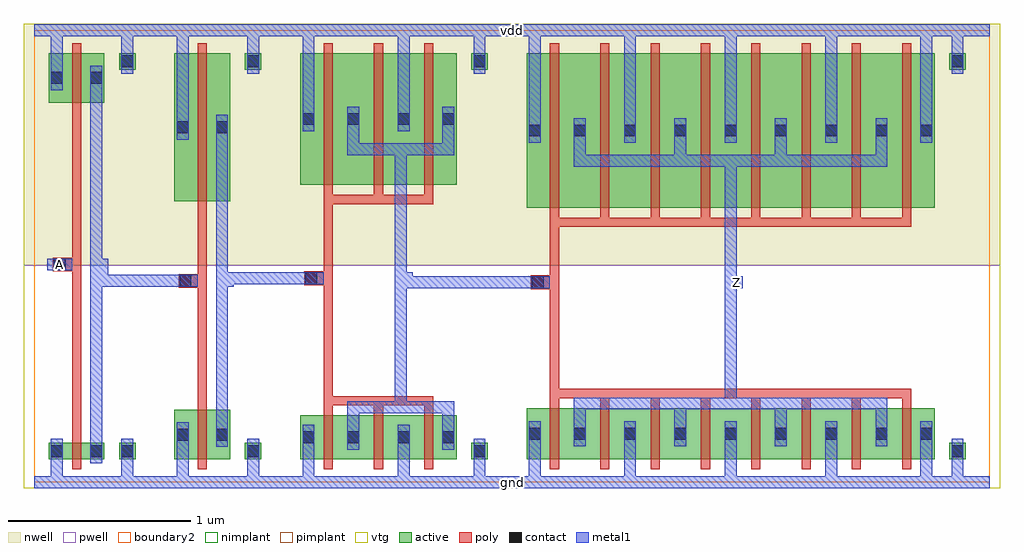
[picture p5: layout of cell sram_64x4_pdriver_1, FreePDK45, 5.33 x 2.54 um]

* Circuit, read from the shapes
.subckt sram_64x4_pdriver_1 A Z gnd vdd
M1 sram_64x4_pinv_7_1/A A gnd gnd nfet w=0.09u l=0.05u
M2 sram_64x4_pinv_8_2/A sram_64x4_pinv_7_1/A gnd gnd nfet w=0.27u l=0.05u
M3 sram_64x4_pinv_9_3/A sram_64x4_pinv_8_2/A gnd gnd nfet w=0.24u l=0.05u m=3
M4 Z sram_64x4_pinv_9_3/A gnd gnd nfet w=0.28u l=0.05u m=8
M5 sram_64x4_pinv_7_1/A A vdd vdd pfet w=0.27u l=0.05u
M6 sram_64x4_pinv_8_2/A sram_64x4_pinv_7_1/A vdd vdd pfet w=0.81u l=0.05u
M7 sram_64x4_pinv_9_3/A sram_64x4_pinv_8_2/A vdd vdd pfet w=0.72u l=0.05u m=3
M8 Z sram_64x4_pinv_9_3/A vdd vdd pfet w=0.845u l=0.05u m=8
.ends

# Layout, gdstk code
import gdstk
lib = gdstk.Library(unit=1e-6, precision=5e-10)
def R(c, l, rs):  # rectangles x0, y0, x1, y1
    for r in rs: c.add(gdstk.rectangle(r[:2], r[2:], *l))
def A(c, l, x, y, w, h, nx, ny, dx, dy):  # array of equal rectangles
    R(c, l, [(x+i*dx, y+j*dy, x+i*dx+w, y+j*dy+h) for i in range(nx) for j in range(ny)])
active = (1, 0)
pwell = (2, 0)
nwell = (3, 0)
nimplant = (4, 0)
pimplant = (5, 0)
vtg = (6, 0)
poly = (9, 0)
contact = (10, 0)
metal1 = (11, 0)
boundary2 = (239, 0)

sram_64x4_contact_11 = lib.new_cell('sram_64x4_contact_11')
R(sram_64x4_contact_11, active, [(0,0.0225,0.09,0.1125)])
R(sram_64x4_contact_11, nwell, [(-0.055,-0.0325,0.145,0.1675)])
R(sram_64x4_contact_11, pimplant, [(0,0.0225,0.09,0.1125)])
R(sram_64x4_contact_11, contact, [(0.0125,0.035,0.0775,0.1)])
R(sram_64x4_contact_11, metal1, [(0.0125,0,0.0775,0.135)])
R(sram_64x4_contact_11, boundary2, [(-0.055,-0.0325,0.145,0.1675)])

sram_64x4_pmos_m1_w0_270 = lib.new_cell('sram_64x4_pmos_m1_w0_270_sm1_dm1_da_p')
R(sram_64x4_pmos_m1_w0_270, active, [(0,0,0.305,0.27)])
R(sram_64x4_pmos_m1_w0_270, nwell, [(-0.08,-0.08,0.385,0.35)])
R(sram_64x4_pmos_m1_w0_270, pimplant, [(0,0,0.305,0.27)])
R(sram_64x4_pmos_m1_w0_270, vtg, [(-0.08,-0.08,0.385,0.35)])
R(sram_64x4_pmos_m1_w0_270, poly, [(0.1275,-0.055,0.1775,0.325), (0.1275,-0.055,0.1775,0.325)])
R(sram_64x4_pmos_m1_w0_270, metal1, [(0.0125,0.0675,0.0775,0.2025), (0.2275,0.0675,0.2925,0.2025)])
R(sram_64x4_pmos_m1_w0_270, boundary2, [(-0.08,-0.08,0.385,0.35)])
sram_64x4_pmos_m1_w0_270.add(gdstk.Reference(sram_64x4_contact_11, (0,0.0675)))
sram_64x4_pmos_m1_w0_270.add(gdstk.Reference(sram_64x4_contact_11, (0.215,0.0675)))
sram_64x4_pmos_m1_w0_270.add(gdstk.Label('G', (0.1525,0.135), layer=9, texttype=0))
sram_64x4_pmos_m1_w0_270.add(gdstk.Label('S', (0.045,0.135), layer=11, texttype=0))
sram_64x4_pmos_m1_w0_270.add(gdstk.Label('D', (0.26,0.135), layer=11, texttype=0))

sram_64x4_contact_10 = lib.new_cell('sram_64x4_contact_10')
R(sram_64x4_contact_10, active, [(0,0.0225,0.09,0.1125)])
R(sram_64x4_contact_10, pwell, [(-0.055,-0.0325,0.145,0.1675)])
R(sram_64x4_contact_10, nimplant, [(0,0.0225,0.09,0.1125)])
R(sram_64x4_contact_10, contact, [(0.0125,0.035,0.0775,0.1)])
R(sram_64x4_contact_10, metal1, [(0.0125,0,0.0775,0.135)])
R(sram_64x4_contact_10, boundary2, [(-0.055,-0.0325,0.145,0.1675)])

sram_64x4_nmos_m1_w0_090 = lib.new_cell('sram_64x4_nmos_m1_w0_090_sm1_dm1_da_p')
R(sram_64x4_nmos_m1_w0_090, active, [(0,0,0.305,0.09)])
R(sram_64x4_nmos_m1_w0_090, pwell, [(-0.08,-0.08,0.385,0.17)])
R(sram_64x4_nmos_m1_w0_090, nimplant, [(0,0,0.305,0.09)])
R(sram_64x4_nmos_m1_w0_090, vtg, [(-0.08,-0.08,0.385,0.17)])
R(sram_64x4_nmos_m1_w0_090, poly, [(0.1275,-0.055,0.1775,0.145), (0.1275,-0.055,0.1775,0.145)])
R(sram_64x4_nmos_m1_w0_090, metal1, [(0.0125,-0.0225,0.0775,0.1125), (0.2275,-0.0225,0.2925,0.1125)])
R(sram_64x4_nmos_m1_w0_090, boundary2, [(-0.08,-0.08,0.385,0.17)])
sram_64x4_nmos_m1_w0_090.add(gdstk.Reference(sram_64x4_contact_10, (0,-0.0225)))
sram_64x4_nmos_m1_w0_090.add(gdstk.Reference(sram_64x4_contact_10, (0.215,-0.0225)))
sram_64x4_nmos_m1_w0_090.add(gdstk.Label('G', (0.1525,0.045), layer=9, texttype=0))
sram_64x4_nmos_m1_w0_090.add(gdstk.Label('S', (0.045,0.045), layer=11, texttype=0))
sram_64x4_nmos_m1_w0_090.add(gdstk.Label('D', (0.26,0.045), layer=11, texttype=0))

sram_64x4_contact_12 = lib.new_cell('sram_64x4_contact_12')
R(sram_64x4_contact_12, active, [(0,0.0225,0.09,0.1125)])
R(sram_64x4_contact_12, nwell, [(-0.055,-0.0325,0.145,0.1675)])
R(sram_64x4_contact_12, nimplant, [(0,0.0225,0.09,0.1125)])
R(sram_64x4_contact_12, contact, [(0.0125,0.035,0.0775,0.1)])
R(sram_64x4_contact_12, metal1, [(0.0125,0,0.0775,0.135)])
R(sram_64x4_contact_12, boundary2, [(-0.055,-0.0325,0.145,0.1675)])

sram_64x4_contact_13 = lib.new_cell('sram_64x4_contact_13')
R(sram_64x4_contact_13, active, [(0,0.0225,0.09,0.1125)])
R(sram_64x4_contact_13, pwell, [(-0.055,-0.0325,0.145,0.1675)])
R(sram_64x4_contact_13, pimplant, [(0,0.0225,0.09,0.1125)])
R(sram_64x4_contact_13, contact, [(0.0125,0.035,0.0775,0.1)])
R(sram_64x4_contact_13, metal1, [(0.0125,0,0.0775,0.135)])
R(sram_64x4_contact_13, boundary2, [(-0.055,-0.0325,0.145,0.1675)])

sram_64x4_contact_14 = lib.new_cell('sram_64x4_contact_14')
R(sram_64x4_contact_14, poly, [(0.03,0,0.105,0.075)])
R(sram_64x4_contact_14, contact, [(0.035,0.005,0.1,0.07)])
R(sram_64x4_contact_14, metal1, [(0,0.005,0.135,0.07)])
R(sram_64x4_contact_14, boundary2, [(0,0,0.135,0.075)])

sram_64x4_pinv_1 = lib.new_cell('sram_64x4_pinv_1')
R(sram_64x4_pinv_1, pwell, [(-0.055,-0.0325,0.7425,1.185)])
R(sram_64x4_pinv_1, nwell, [(-0.055,1.185,0.7425,2.505)])
R(sram_64x4_pinv_1, vtg, [(-0.055,-0.0325,0.7425,1.185), (-0.055,1.185,0.7425,2.505)])
R(sram_64x4_pinv_1, poly, [(0.2075,0.27,0.2575,2.02), (0.14,1.1525,0.2075,1.2275)])
R(sram_64x4_pinv_1, metal1, [(0,-0.0325,0.6875,0.0325), (0.0925,-0.0325,0.1575,0.1025), (0.4775,0,0.5425,0.17), (0.3075,0.1025,0.3725,2.2775), (0.0725,1.1575,0.2075,1.2225), (0.34,1.1575,0.405,1.2225), (0.0925,2.1425,0.1575,2.5025), (0.4775,2.3,0.5425,2.47), (0,2.4375,0.6875,2.5025)])
R(sram_64x4_pinv_1, boundary2, [(0,0,0.6875,2.47), (0,0,0.6875,2.47)])
sram_64x4_pinv_1.add(gdstk.Reference(sram_64x4_pmos_m1_w0_270, (0.08,2.075)))
sram_64x4_pinv_1.add(gdstk.Reference(sram_64x4_nmos_m1_w0_090, (0.08,0.125)))
sram_64x4_pinv_1.add(gdstk.Reference(sram_64x4_contact_12, (0.465,2.2325)))
sram_64x4_pinv_1.add(gdstk.Reference(sram_64x4_contact_13, (0.465,0.1025)))
sram_64x4_pinv_1.add(gdstk.Reference(sram_64x4_contact_14, (0.0725,1.1525)))
sram_64x4_pinv_1.add(gdstk.Label('A', (0.14,1.19), layer=11, texttype=0))
sram_64x4_pinv_1.add(gdstk.Label('Z', (0.3725,1.19), layer=11, texttype=0))
sram_64x4_pinv_1.add(gdstk.Label('gnd', (0.344,0), layer=11, texttype=0))
sram_64x4_pinv_1.add(gdstk.Label('vdd', (0.344,2.47), layer=11, texttype=0))

sram_64x4_pmos_m1_w0_810 = lib.new_cell('sram_64x4_pmos_m1_w0_810_sm1_dm1_da_p')
R(sram_64x4_pmos_m1_w0_810, active, [(0,0,0.305,0.81)])
R(sram_64x4_pmos_m1_w0_810, nwell, [(-0.08,-0.08,0.385,0.89)])
R(sram_64x4_pmos_m1_w0_810, pimplant, [(0,0,0.305,0.81)])
R(sram_64x4_pmos_m1_w0_810, vtg, [(-0.08,-0.08,0.385,0.89)])
R(sram_64x4_pmos_m1_w0_810, poly, [(0.1275,-0.055,0.1775,0.865), (0.1275,-0.055,0.1775,0.865)])
R(sram_64x4_pmos_m1_w0_810, metal1, [(0.0125,0.3375,0.0775,0.4725), (0.2275,0.3375,0.2925,0.4725)])
R(sram_64x4_pmos_m1_w0_810, boundary2, [(-0.08,-0.08,0.385,0.89)])
sram_64x4_pmos_m1_w0_810.add(gdstk.Reference(sram_64x4_contact_11, (0,0.3375)))
sram_64x4_pmos_m1_w0_810.add(gdstk.Reference(sram_64x4_contact_11, (0.215,0.3375)))
sram_64x4_pmos_m1_w0_810.add(gdstk.Label('G', (0.1525,0.405), layer=9, texttype=0))
sram_64x4_pmos_m1_w0_810.add(gdstk.Label('S', (0.045,0.405), layer=11, texttype=0))
sram_64x4_pmos_m1_w0_810.add(gdstk.Label('D', (0.26,0.405), layer=11, texttype=0))

sram_64x4_nmos_m1_w0_270 = lib.new_cell('sram_64x4_nmos_m1_w0_270_sm1_dm1_da_p')
R(sram_64x4_nmos_m1_w0_270, active, [(0,0,0.305,0.27)])
R(sram_64x4_nmos_m1_w0_270, pwell, [(-0.08,-0.08,0.385,0.35)])
R(sram_64x4_nmos_m1_w0_270, nimplant, [(0,0,0.305,0.27)])
R(sram_64x4_nmos_m1_w0_270, vtg, [(-0.08,-0.08,0.385,0.35)])
R(sram_64x4_nmos_m1_w0_270, poly, [(0.1275,-0.055,0.1775,0.325), (0.1275,-0.055,0.1775,0.325)])
R(sram_64x4_nmos_m1_w0_270, metal1, [(0.0125,0.0675,0.0775,0.2025), (0.2275,0.0675,0.2925,0.2025)])
R(sram_64x4_nmos_m1_w0_270, boundary2, [(-0.08,-0.08,0.385,0.35)])
sram_64x4_nmos_m1_w0_270.add(gdstk.Reference(sram_64x4_contact_10, (0,0.0675)))
sram_64x4_nmos_m1_w0_270.add(gdstk.Reference(sram_64x4_contact_10, (0.215,0.0675)))
sram_64x4_nmos_m1_w0_270.add(gdstk.Label('G', (0.1525,0.135), layer=9, texttype=0))
sram_64x4_nmos_m1_w0_270.add(gdstk.Label('S', (0.045,0.135), layer=11, texttype=0))
sram_64x4_nmos_m1_w0_270.add(gdstk.Label('D', (0.26,0.135), layer=11, texttype=0))

sram_64x4_pinv_7 = lib.new_cell('sram_64x4_pinv_7')
R(sram_64x4_pinv_7, pwell, [(-0.055,-0.0325,0.7425,1.185)])
R(sram_64x4_pinv_7, nwell, [(-0.055,1.185,0.7425,2.505)])
R(sram_64x4_pinv_7, vtg, [(-0.055,-0.0325,0.7425,1.185), (-0.055,1.185,0.7425,2.505)])
R(sram_64x4_pinv_7, poly, [(0.2075,0.45,0.2575,1.48), (0.14,1.0625,0.2075,1.1375)])
R(sram_64x4_pinv_7, metal1, [(0,-0.0325,0.6875,0.0325), (0.0925,-0.0325,0.1575,0.1925), (0.4775,0,0.5425,0.17), (0.3075,0.1925,0.3725,2.0075), (0.0725,1.0675,0.2075,1.1325), (0.34,1.0675,0.405,1.1325), (0.0925,1.8725,0.1575,2.5025), (0.4775,2.3,0.5425,2.47), (0,2.4375,0.6875,2.5025)])
R(sram_64x4_pinv_7, boundary2, [(0,0,0.6875,2.47), (0,0,0.6875,2.47)])
sram_64x4_pinv_7.add(gdstk.Reference(sram_64x4_pmos_m1_w0_810, (0.08,1.535)))
sram_64x4_pinv_7.add(gdstk.Reference(sram_64x4_nmos_m1_w0_270, (0.08,0.125)))
sram_64x4_pinv_7.add(gdstk.Reference(sram_64x4_contact_12, (0.465,2.2325)))
sram_64x4_pinv_7.add(gdstk.Reference(sram_64x4_contact_13, (0.465,0.1025)))
sram_64x4_pinv_7.add(gdstk.Reference(sram_64x4_contact_14, (0.0725,1.0625)))
sram_64x4_pinv_7.add(gdstk.Label('A', (0.14,1.1), layer=11, texttype=0))
sram_64x4_pinv_7.add(gdstk.Label('Z', (0.3725,1.1), layer=11, texttype=0))
sram_64x4_pinv_7.add(gdstk.Label('gnd', (0.344,0), layer=11, texttype=0))
sram_64x4_pinv_7.add(gdstk.Label('vdd', (0.344,2.47), layer=11, texttype=0))

sram_64x4_pmos_m3_w0_720 = lib.new_cell('sram_64x4_pmos_m3_w0_720_sm1_dm1_da_p')
R(sram_64x4_pmos_m3_w0_720, active, [(0,0,0.855,0.72)])
R(sram_64x4_pmos_m3_w0_720, nwell, [(-0.08,-0.08,0.935,0.8)])
R(sram_64x4_pmos_m3_w0_720, pimplant, [(0,0,0.855,0.72)])
R(sram_64x4_pmos_m3_w0_720, vtg, [(-0.08,-0.08,0.935,0.8)])
A(sram_64x4_pmos_m3_w0_720, poly, 0.1275, -0.055, 0.05, 0.83, 3, 1, 0.275, 0)
R(sram_64x4_pmos_m3_w0_720, poly, [(0.1275,-0.105,0.7275,-0.055)])
R(sram_64x4_pmos_m3_w0_720, metal1, [(0.2575,0.1625,0.8425,0.2275), (0.2575,0.195,0.3225,0.36), (0.7775,0.195,0.8425,0.36), (0.0125,0.2925,0.0775,0.4275), (0.5325,0.2925,0.5975,0.4275)])
R(sram_64x4_pmos_m3_w0_720, boundary2, [(-0.08,-0.105,0.935,0.8)])
sram_64x4_pmos_m3_w0_720.add(gdstk.Reference(sram_64x4_contact_11, (0,0.2925)))
sram_64x4_pmos_m3_w0_720.add(gdstk.Reference(sram_64x4_contact_11, (0.245,0.2925)))
sram_64x4_pmos_m3_w0_720.add(gdstk.Reference(sram_64x4_contact_11, (0.52,0.2925)))
sram_64x4_pmos_m3_w0_720.add(gdstk.Reference(sram_64x4_contact_11, (0.765,0.2925)))
sram_64x4_pmos_m3_w0_720.add(gdstk.Label('G', (0.4275,-0.08), layer=9, texttype=0))
sram_64x4_pmos_m3_w0_720.add(gdstk.Label('S', (0.045,0.36), layer=11, texttype=0))
sram_64x4_pmos_m3_w0_720.add(gdstk.Label('S', (0.565,0.36), layer=11, texttype=0))
sram_64x4_pmos_m3_w0_720.add(gdstk.Label('D', (0.55,0.195), layer=11, texttype=0))

sram_64x4_nmos_m3_w0_240 = lib.new_cell('sram_64x4_nmos_m3_w0_240_sm1_dm1_da_p')
R(sram_64x4_nmos_m3_w0_240, active, [(0,0,0.855,0.24)])
R(sram_64x4_nmos_m3_w0_240, pwell, [(-0.08,-0.08,0.935,0.32)])
R(sram_64x4_nmos_m3_w0_240, nimplant, [(0,0,0.855,0.24)])
R(sram_64x4_nmos_m3_w0_240, vtg, [(-0.08,-0.08,0.935,0.32)])
A(sram_64x4_nmos_m3_w0_240, poly, 0.1275, -0.055, 0.05, 0.35, 3, 1, 0.275, 0)
R(sram_64x4_nmos_m3_w0_240, poly, [(0.1275,0.295,0.7275,0.345)])
R(sram_64x4_nmos_m3_w0_240, metal1, [(0.0125,0.0525,0.0775,0.1875), (0.5325,0.0525,0.5975,0.1875), (0.2575,0.12,0.3225,0.285), (0.7775,0.12,0.8425,0.285), (0.2575,0.2525,0.8425,0.3175)])
R(sram_64x4_nmos_m3_w0_240, boundary2, [(-0.08,-0.08,0.935,0.345)])
sram_64x4_nmos_m3_w0_240.add(gdstk.Reference(sram_64x4_contact_10, (0,0.0525)))
sram_64x4_nmos_m3_w0_240.add(gdstk.Reference(sram_64x4_contact_10, (0.245,0.0525)))
sram_64x4_nmos_m3_w0_240.add(gdstk.Reference(sram_64x4_contact_10, (0.52,0.0525)))
sram_64x4_nmos_m3_w0_240.add(gdstk.Reference(sram_64x4_contact_10, (0.765,0.0525)))
sram_64x4_nmos_m3_w0_240.add(gdstk.Label('G', (0.4275,0.32), layer=9, texttype=0))
sram_64x4_nmos_m3_w0_240.add(gdstk.Label('S', (0.565,0.12), layer=11, texttype=0))
sram_64x4_nmos_m3_w0_240.add(gdstk.Label('S', (0.045,0.12), layer=11, texttype=0))
sram_64x4_nmos_m3_w0_240.add(gdstk.Label('D', (0.55,0.285), layer=11, texttype=0))

sram_64x4_pinv_8 = lib.new_cell('sram_64x4_pinv_8')
R(sram_64x4_pinv_8, pwell, [(-0.055,-0.0325,1.2925,1.185)])
R(sram_64x4_pinv_8, nwell, [(-0.055,1.185,1.2925,2.505)])
R(sram_64x4_pinv_8, vtg, [(-0.055,-0.0325,1.2925,1.185), (-0.055,1.185,1.2925,2.505)])
R(sram_64x4_pinv_8, poly, [(0.2075,0.47,0.2575,1.52), (0.14,1.0775,0.2075,1.1525)])
R(sram_64x4_pinv_8, metal1, [(0,-0.0325,1.2375,0.0325), (0.0925,-0.0325,0.1575,0.1775), (0.6125,-0.0325,0.6775,0.1775), (1.0275,0,1.0925,0.17), (0.5975,0.3775,0.6625,1.8525), (0.0725,1.0825,0.2075,1.1475), (0.63,1.0825,0.695,1.1475), (0.0925,1.9175,0.1575,2.5025), (0.6125,1.9175,0.6775,2.5025), (1.0275,2.3,1.0925,2.47), (0,2.4375,1.2375,2.5025)])
R(sram_64x4_pinv_8, boundary2, [(0,0,1.2375,2.47), (0,0,1.2375,2.47)])
sram_64x4_pinv_8.add(gdstk.Reference(sram_64x4_pmos_m3_w0_720, (0.08,1.625)))
sram_64x4_pinv_8.add(gdstk.Reference(sram_64x4_nmos_m3_w0_240, (0.08,0.125)))
sram_64x4_pinv_8.add(gdstk.Reference(sram_64x4_contact_12, (1.015,2.2325)))
sram_64x4_pinv_8.add(gdstk.Reference(sram_64x4_contact_13, (1.015,0.1025)))
sram_64x4_pinv_8.add(gdstk.Reference(sram_64x4_contact_14, (0.0725,1.0775)))
sram_64x4_pinv_8.add(gdstk.Label('A', (0.14,1.115), layer=11, texttype=0))
sram_64x4_pinv_8.add(gdstk.Label('Z', (0.6625,1.115), layer=11, texttype=0))
sram_64x4_pinv_8.add(gdstk.Label('gnd', (0.619,0), layer=11, texttype=0))
sram_64x4_pinv_8.add(gdstk.Label('vdd', (0.619,2.47), layer=11, texttype=0))

sram_64x4_pmos_m8_w0_845 = lib.new_cell('sram_64x4_pmos_m8_w0_845_sm1_dm1_da_p')
R(sram_64x4_pmos_m8_w0_845, active, [(0,0,2.23,0.845)])
R(sram_64x4_pmos_m8_w0_845, nwell, [(-0.08,-0.08,2.31,0.925)])
R(sram_64x4_pmos_m8_w0_845, pimplant, [(0,0,2.23,0.845)])
R(sram_64x4_pmos_m8_w0_845, vtg, [(-0.08,-0.08,2.31,0.925)])
A(sram_64x4_pmos_m8_w0_845, poly, 0.1275, -0.055, 0.05, 0.955, 8, 1, 0.275, 0)
R(sram_64x4_pmos_m8_w0_845, poly, [(0.1275,-0.105,2.1025,-0.055)])
A(sram_64x4_pmos_m8_w0_845, metal1, 0.2575, 0.2575, 0.065, 0.165, 4, 1, 0.55, 0)
A(sram_64x4_pmos_m8_w0_845, metal1, 0.5325, 0.355, 0.065, 0.135, 3, 1, 0.55, 0)
R(sram_64x4_pmos_m8_w0_845, metal1, [(0.2575,0.225,1.9725,0.29), (0.0125,0.355,0.0775,0.49), (2.1525,0.355,2.2175,0.49)])
R(sram_64x4_pmos_m8_w0_845, boundary2, [(-0.08,-0.105,2.31,0.925)])
sram_64x4_pmos_m8_w0_845.add(gdstk.Reference(sram_64x4_contact_11, (0,0.355)))
sram_64x4_pmos_m8_w0_845.add(gdstk.Reference(sram_64x4_contact_11, (0.245,0.355)))
sram_64x4_pmos_m8_w0_845.add(gdstk.Reference(sram_64x4_contact_11, (0.52,0.355)))
sram_64x4_pmos_m8_w0_845.add(gdstk.Reference(sram_64x4_contact_11, (0.795,0.355)))
sram_64x4_pmos_m8_w0_845.add(gdstk.Reference(sram_64x4_contact_11, (1.07,0.355)))
sram_64x4_pmos_m8_w0_845.add(gdstk.Reference(sram_64x4_contact_11, (1.345,0.355)))
sram_64x4_pmos_m8_w0_845.add(gdstk.Reference(sram_64x4_contact_11, (1.62,0.355)))
sram_64x4_pmos_m8_w0_845.add(gdstk.Reference(sram_64x4_contact_11, (1.895,0.355)))
sram_64x4_pmos_m8_w0_845.add(gdstk.Reference(sram_64x4_contact_11, (2.14,0.355)))
sram_64x4_pmos_m8_w0_845.add(gdstk.Label('G', (1.115,-0.08), layer=9, texttype=0))
sram_64x4_pmos_m8_w0_845.add(gdstk.Label('S', (1.115,0.4225), layer=11, texttype=0))
sram_64x4_pmos_m8_w0_845.add(gdstk.Label('S', (2.185,0.4225), layer=11, texttype=0))
sram_64x4_pmos_m8_w0_845.add(gdstk.Label('S', (0.565,0.4225), layer=11, texttype=0))
sram_64x4_pmos_m8_w0_845.add(gdstk.Label('S', (1.665,0.4225), layer=11, texttype=0))
sram_64x4_pmos_m8_w0_845.add(gdstk.Label('S', (0.045,0.4225), layer=11, texttype=0))
sram_64x4_pmos_m8_w0_845.add(gdstk.Label('D', (1.115,0.2575), layer=11, texttype=0))

sram_64x4_nmos_m8_w0_280 = lib.new_cell('sram_64x4_nmos_m8_w0_280_sm1_dm1_da_p')
R(sram_64x4_nmos_m8_w0_280, active, [(0,0,2.23,0.28)])
R(sram_64x4_nmos_m8_w0_280, pwell, [(-0.08,-0.08,2.31,0.36)])
R(sram_64x4_nmos_m8_w0_280, nimplant, [(0,0,2.23,0.28)])
R(sram_64x4_nmos_m8_w0_280, vtg, [(-0.08,-0.08,2.31,0.36)])
A(sram_64x4_nmos_m8_w0_280, poly, 0.1275, -0.055, 0.05, 0.39, 8, 1, 0.275, 0)
R(sram_64x4_nmos_m8_w0_280, poly, [(0.1275,0.335,2.1025,0.385)])
A(sram_64x4_nmos_m8_w0_280, metal1, 0.5325, 0.0725, 0.065, 0.135, 3, 1, 0.55, 0)
A(sram_64x4_nmos_m8_w0_280, metal1, 0.2575, 0.14, 0.065, 0.165, 4, 1, 0.55, 0)
R(sram_64x4_nmos_m8_w0_280, metal1, [(0.0125,0.0725,0.0775,0.2075), (2.1525,0.0725,2.2175,0.2075), (0.2575,0.2725,1.9725,0.3375)])
R(sram_64x4_nmos_m8_w0_280, boundary2, [(-0.08,-0.08,2.31,0.385)])
sram_64x4_nmos_m8_w0_280.add(gdstk.Reference(sram_64x4_contact_10, (0,0.0725)))
sram_64x4_nmos_m8_w0_280.add(gdstk.Reference(sram_64x4_contact_10, (0.245,0.0725)))
sram_64x4_nmos_m8_w0_280.add(gdstk.Reference(sram_64x4_contact_10, (0.52,0.0725)))
sram_64x4_nmos_m8_w0_280.add(gdstk.Reference(sram_64x4_contact_10, (0.795,0.0725)))
sram_64x4_nmos_m8_w0_280.add(gdstk.Reference(sram_64x4_contact_10, (1.07,0.0725)))
sram_64x4_nmos_m8_w0_280.add(gdstk.Reference(sram_64x4_contact_10, (1.345,0.0725)))
sram_64x4_nmos_m8_w0_280.add(gdstk.Reference(sram_64x4_contact_10, (1.62,0.0725)))
sram_64x4_nmos_m8_w0_280.add(gdstk.Reference(sram_64x4_contact_10, (1.895,0.0725)))
sram_64x4_nmos_m8_w0_280.add(gdstk.Reference(sram_64x4_contact_10, (2.14,0.0725)))
sram_64x4_nmos_m8_w0_280.add(gdstk.Label('G', (1.115,0.36), layer=9, texttype=0))
sram_64x4_nmos_m8_w0_280.add(gdstk.Label('S', (1.665,0.14), layer=11, texttype=0))
sram_64x4_nmos_m8_w0_280.add(gdstk.Label('S', (0.565,0.14), layer=11, texttype=0))
sram_64x4_nmos_m8_w0_280.add(gdstk.Label('S', (1.115,0.14), layer=11, texttype=0))
sram_64x4_nmos_m8_w0_280.add(gdstk.Label('S', (2.185,0.14), layer=11, texttype=0))
sram_64x4_nmos_m8_w0_280.add(gdstk.Label('S', (0.045,0.14), layer=11, texttype=0))
sram_64x4_nmos_m8_w0_280.add(gdstk.Label('D', (1.115,0.305), layer=11, texttype=0))

sram_64x4_pinv_9 = lib.new_cell('sram_64x4_pinv_9')
R(sram_64x4_pinv_9, pwell, [(-0.055,-0.0325,2.6675,1.185)])
R(sram_64x4_pinv_9, nwell, [(-0.055,1.185,2.6675,2.505)])
R(sram_64x4_pinv_9, vtg, [(-0.055,-0.0325,2.6675,1.185), (-0.055,1.185,2.6675,2.505)])
R(sram_64x4_pinv_9, poly, [(0.2075,0.51,0.2575,1.395), (0.14,1.055,0.2075,1.13)])
A(sram_64x4_pinv_9, metal1, 0.6125, -0.0325, 0.065, 0.23, 3, 1, 0.55, 0)
A(sram_64x4_pinv_9, metal1, 0.6125, 1.855, 0.065, 0.6475, 3, 1, 0.55, 0)
R(sram_64x4_pinv_9, metal1, [(0,-0.0325,2.6125,0.0325), (0.0925,-0.0325,0.1575,0.1975), (2.2325,-0.0325,2.2975,0.1975), (2.4025,0,2.4675,0.17), (1.1625,0.3975,1.2275,1.79), (0.0725,1.06,0.2075,1.125), (1.195,1.06,1.26,1.125), (0.0925,1.855,0.1575,2.5025), (2.2325,1.855,2.2975,2.5025), (2.4025,2.3,2.4675,2.47), (0,2.4375,2.6125,2.5025)])
R(sram_64x4_pinv_9, boundary2, [(0,0,2.6125,2.47), (0,0,2.6125,2.47)])
sram_64x4_pinv_9.add(gdstk.Reference(sram_64x4_pmos_m8_w0_845, (0.08,1.5)))
sram_64x4_pinv_9.add(gdstk.Reference(sram_64x4_nmos_m8_w0_280, (0.08,0.125)))
sram_64x4_pinv_9.add(gdstk.Reference(sram_64x4_contact_12, (2.39,2.2325)))
sram_64x4_pinv_9.add(gdstk.Reference(sram_64x4_contact_13, (2.39,0.1025)))
sram_64x4_pinv_9.add(gdstk.Reference(sram_64x4_contact_14, (0.0725,1.055)))
sram_64x4_pinv_9.add(gdstk.Label('A', (0.14,1.0925), layer=11, texttype=0))
sram_64x4_pinv_9.add(gdstk.Label('Z', (1.2275,1.0925), layer=11, texttype=0))
sram_64x4_pinv_9.add(gdstk.Label('gnd', (1.3065,0), layer=11, texttype=0))
sram_64x4_pinv_9.add(gdstk.Label('vdd', (1.3065,2.47), layer=11, texttype=0))

sram_64x4_pdriver_1 = lib.new_cell('sram_64x4_pdriver_1')
R(sram_64x4_pdriver_1, pwell, [(-0.055,-0.0325,5.28,1.185)])
R(sram_64x4_pdriver_1, nwell, [(-0.055,1.185,5.28,2.505)])
R(sram_64x4_pdriver_1, vtg, [(-0.055,-0.0325,5.28,1.185), (-0.055,1.185,5.28,2.505)])
R(sram_64x4_pdriver_1, metal1, [(0,-0.0325,5.225,0.0325), (2.005,1.06,2.07,1.125), (2.0375,1.06,2.7525,1.125), (3.8075,1.06,3.8725,1.125), (0.34,1.0675,0.405,1.1325), (0.3725,1.0675,0.8275,1.1325), (1.0275,1.0825,1.0925,1.1475), (1.06,1.0825,1.515,1.1475), (2.005,1.0925,2.07,1.115), (0.34,1.1,0.405,1.19), (1.0275,1.1,1.0925,1.115), (0.0725,1.1575,0.2075,1.2225), (0,2.4375,5.225,2.5025)])
R(sram_64x4_pdriver_1, boundary2, [(0,0,5.225,2.47), (0,0,5.225,2.47)])
sram_64x4_pdriver_1.add(gdstk.Reference(sram_64x4_pinv_1, (0,0)))
sram_64x4_pdriver_1.add(gdstk.Reference(sram_64x4_pinv_7, (0.6875,0)))
sram_64x4_pdriver_1.add(gdstk.Reference(sram_64x4_pinv_8, (1.375,0)))
sram_64x4_pdriver_1.add(gdstk.Reference(sram_64x4_pinv_9, (2.6125,0)))
sram_64x4_pdriver_1.add(gdstk.Label('Z', (3.84,1.0925), layer=11, texttype=0))
sram_64x4_pdriver_1.add(gdstk.Label('A', (0.14,1.19), layer=11, texttype=0))
sram_64x4_pdriver_1.add(gdstk.Label('gnd', (2.6125,0), layer=11, texttype=0))
sram_64x4_pdriver_1.add(gdstk.Label('vdd', (2.6125,2.47), layer=11, texttype=0))

lib.write_gds('sram_64x4_pdriver_1.gds')
